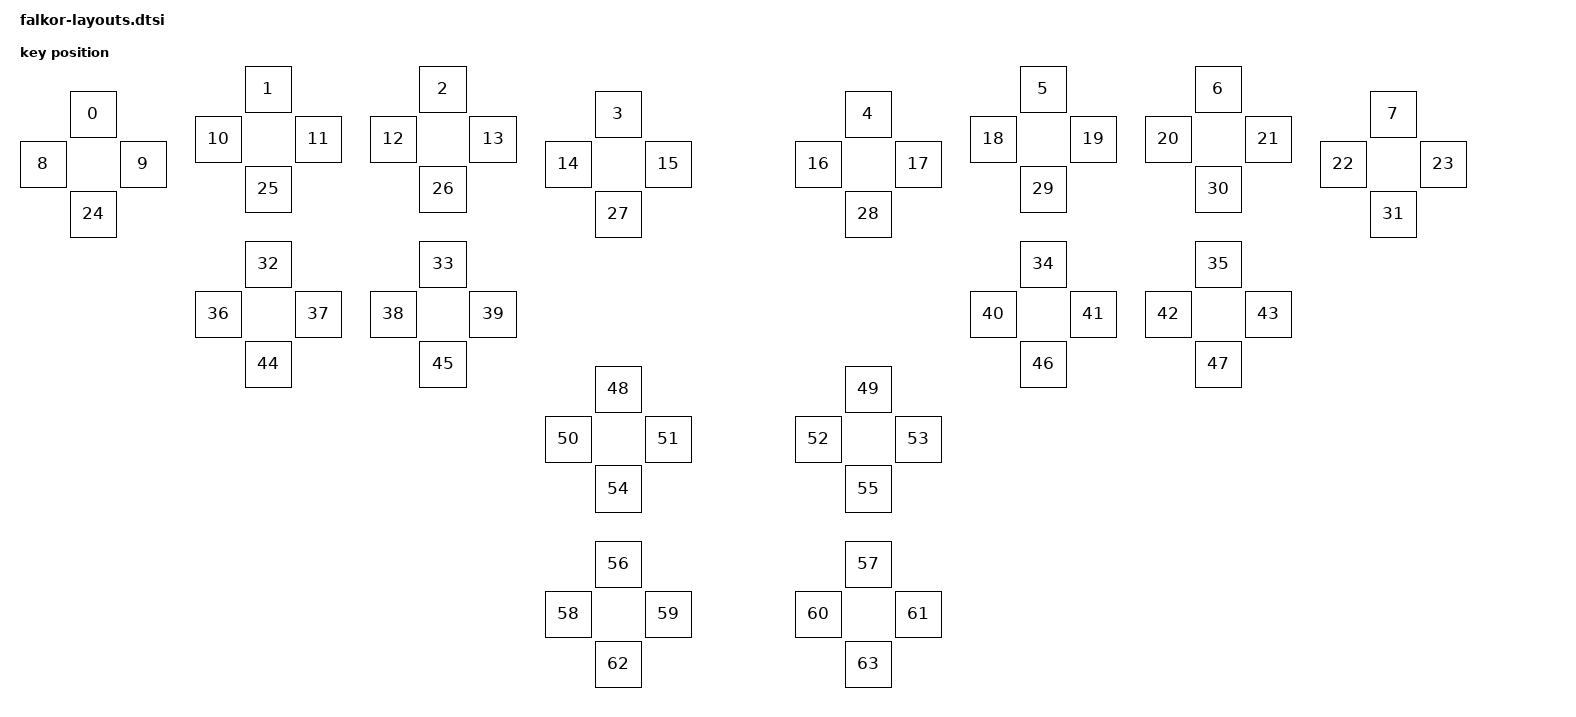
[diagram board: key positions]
#include <physical_layouts.dtsi>

/ {
    falkor_physical_layout: falkor_physical_layout {
        compatible = "zmk,physical-layout";
        display-name = "Default Layout";
        transform = <&default_transform>;

        keys  //                     w   h    x    y     rot    rx    ry
            = <&key_physical_attrs 100 100  100   50       0     0     0>
            , <&key_physical_attrs 100 100  450    0       0     0     0>
            , <&key_physical_attrs 100 100  800    0       0     0     0>
            , <&key_physical_attrs 100 100 1150   50       0     0     0>
            , <&key_physical_attrs 100 100 1650   50       0     0     0>
            , <&key_physical_attrs 100 100 2000    0       0     0     0>
            , <&key_physical_attrs 100 100 2350    0       0     0     0>
            , <&key_physical_attrs 100 100 2700   50       0     0     0>

            , <&key_physical_attrs 100 100    0  150       0     0     0>
            , <&key_physical_attrs 100 100  200  150       0     0     0>
            , <&key_physical_attrs 100 100  350  100       0     0     0>
            , <&key_physical_attrs 100 100  550  100       0     0     0>
            , <&key_physical_attrs 100 100  700  100       0     0     0>
            , <&key_physical_attrs 100 100  900  100       0     0     0>
            , <&key_physical_attrs 100 100 1050  150       0     0     0>
            , <&key_physical_attrs 100 100 1250  150       0     0     0>
            , <&key_physical_attrs 100 100 1550  150       0     0     0>
            , <&key_physical_attrs 100 100 1750  150       0     0     0>
            , <&key_physical_attrs 100 100 1900  100       0     0     0>
            , <&key_physical_attrs 100 100 2100  100       0     0     0>
            , <&key_physical_attrs 100 100 2250  100       0     0     0>
            , <&key_physical_attrs 100 100 2450  100       0     0     0>
            , <&key_physical_attrs 100 100 2600  150       0     0     0>
            , <&key_physical_attrs 100 100 2800  150       0     0     0>

            , <&key_physical_attrs 100 100  100  250       0     0     0>
            , <&key_physical_attrs 100 100  450  200       0     0     0>
            , <&key_physical_attrs 100 100  800  200       0     0     0>
            , <&key_physical_attrs 100 100 1150  250       0     0     0>
            , <&key_physical_attrs 100 100 1650  250       0     0     0>
            , <&key_physical_attrs 100 100 2000  200       0     0     0>
            , <&key_physical_attrs 100 100 2350  200       0     0     0>
            , <&key_physical_attrs 100 100 2700  250       0     0     0>

            , <&key_physical_attrs 100 100  450  350       0     0     0>
            , <&key_physical_attrs 100 100  800  350       0     0     0>
            , <&key_physical_attrs 100 100 2000  350       0     0     0>
            , <&key_physical_attrs 100 100 2350  350       0     0     0>

            , <&key_physical_attrs 100 100  350  450       0     0     0>
            , <&key_physical_attrs 100 100  550  450       0     0     0>
            , <&key_physical_attrs 100 100  700  450       0     0     0>
            , <&key_physical_attrs 100 100  900  450       0     0     0>
            , <&key_physical_attrs 100 100 1900  450       0     0     0>
            , <&key_physical_attrs 100 100 2100  450       0     0     0>
            , <&key_physical_attrs 100 100 2250  450       0     0     0>
            , <&key_physical_attrs 100 100 2450  450       0     0     0>

            , <&key_physical_attrs 100 100  450  550       0     0     0>
            , <&key_physical_attrs 100 100  800  550       0     0     0>
            , <&key_physical_attrs 100 100 2000  550       0     0     0>
            , <&key_physical_attrs 100 100 2350  550       0     0     0>

            , <&key_physical_attrs 100 100 1150  600       0     0     0>
            , <&key_physical_attrs 100 100 1650  600       0     0     0>

            , <&key_physical_attrs 100 100 1050  700       0     0     0>
            , <&key_physical_attrs 100 100 1250  700       0     0     0>
            , <&key_physical_attrs 100 100 1550  700       0     0     0>
            , <&key_physical_attrs 100 100 1750  700       0     0     0>

            , <&key_physical_attrs 100 100 1150  800       0     0     0>
            , <&key_physical_attrs 100 100 1650  800       0     0     0>

            , <&key_physical_attrs 100 100 1150  950       0     0     0>
            , <&key_physical_attrs 100 100 1650  950       0     0     0>

            , <&key_physical_attrs 100 100 1050 1050       0     0     0>
            , <&key_physical_attrs 100 100 1250 1050       0     0     0>
            , <&key_physical_attrs 100 100 1550 1050       0     0     0>
            , <&key_physical_attrs 100 100 1750 1050       0     0     0>

            , <&key_physical_attrs 100 100 1150 1150       0     0     0>
            , <&key_physical_attrs 100 100 1650 1150       0     0     0>
            ;
    };
}
